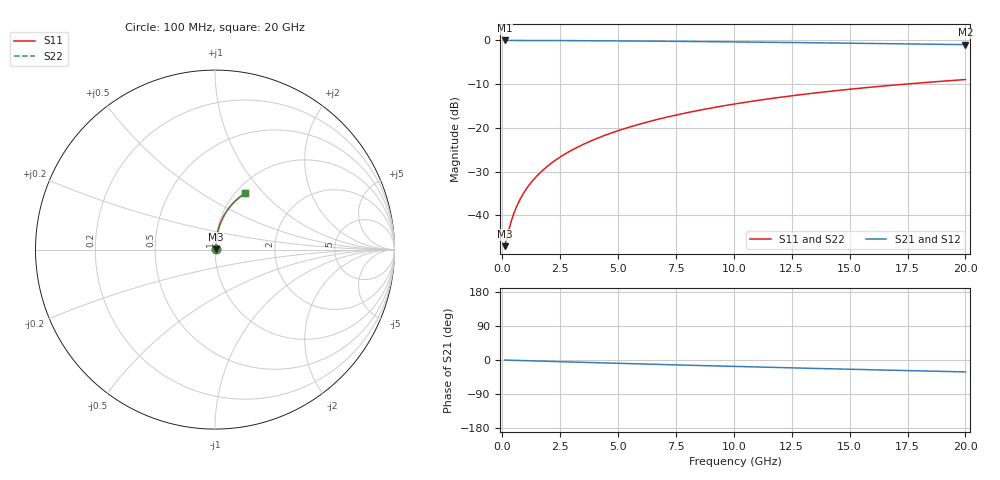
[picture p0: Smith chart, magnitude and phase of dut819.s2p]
! Touchstone file exported from HFSS 2024.1.0
!  File:  C:/UserFiles/LocalFiles/RDL_TSV_Batchsim/temp_RDL_top_819_1779854492.aedt
!  Generated:  12:03:49 PM May 27, 2026
!  Design:  RDL_top
!  Project:  temp_RDL_top_819_1779854492
!  Setup:  Setup1
!  Solution:  Sweep
! Variables:
!  dtsv = 10.80580581um
!  hbump = 3um
!  htsv = 86.24um
!  ldown = 100um
!  lrdl = 387.64um
!  p = 40
!  p1 = 46.58um
!  rhole = 1um
!  t = 450um
!  tdown = 3.915915916um
!  trdl = 2.35um
!  wdown = 15.38538539um
!  wrdl = 15.51um
# GHz S MA R 50.000000
! Terminal data exported
! Port[1] = Box2_T1
! Port[2] = Box2_T2
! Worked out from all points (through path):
!   200 points, 100 MHz to 20 GHz, reference 50 ohm
!   highest |S21| = -0.03 dB at 100 MHz (marker M1); lowest = -1.0 dB at 20 GHz (marker M2)
!   group delay of S21, straight-line fit = 4.36 ps
!   lowest |S11| = -47.0 dB at 100 MHz (marker M3), VSWR 1.01, Z = 50.4 + j0.197 ohm
!   |S11| at or under -10 dB: start of sweep to 17.43 GHz
!   |S22| runs from -47.0 to -9.0 dB; largest |S21 - S12| = 3.1e-15
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0.1  0.004448 26.0  0.996 -0.2  0.996 -0.2  0.004448 26.0
! Gamma 0 0 0 0
! Port Impedance 50 0 50 0
0.3  0.007133 54.5  0.9958 -0.6  0.9958 -0.6  0.007133 54.5
0.4  0.008797 61.2  0.9957 -0.7  0.9957 -0.7  0.008797 61.2
0.5  0.01052 65.5  0.9956 -0.9  0.9956 -0.9  0.01052 65.5
0.6  0.01228 68.6  0.9955 -1.1  0.9955 -1.1  0.01228 68.6
0.7  0.01404 70.9  0.9953 -1.3  0.9953 -1.3  0.01404 70.9
0.9  0.01759 74.0  0.9951 -1.6  0.9951 -1.6  0.01759 74.0
1.2  0.02294 76.9  0.9946 -2.2  0.9946 -2.2  0.02293 76.9
1.4  0.02651 78.2  0.9943 -2.5  0.9943 -2.5  0.02651 78.2
1.7  0.03191 79.5  0.9938 -3.0  0.9938 -3.0  0.03191 79.5
2.2  0.04096 80.8  0.9929 -3.9  0.9929 -3.9  0.04096 80.8
2.8  0.05193 81.6  0.9916 -5.0  0.9916 -5.0  0.05192 81.5
3.5  0.06482 81.8  0.9896 -6.2  0.9896 -6.2  0.06482 81.8
4.2  0.07781 81.7  0.9874 -7.4  0.9874 -7.4  0.07781 81.7
5  0.09276 81.3  0.9844 -8.8  0.9844 -8.8  0.09276 81.3
5.9  0.1097 80.6  0.9807 -10.3  0.9807 -10.3  0.1097 80.6
6.8  0.1266 79.7  0.9765 -11.8  0.9765 -11.8  0.1266 79.7
8.4  0.1568 77.9  0.9683 -14.4  0.9683 -14.4  0.1568 77.9
10.1  0.1885 75.7  0.9587 -17.1  0.9587 -17.1  0.1885 75.7
13.4  0.2483 71.1  0.938 -22.1  0.938 -22.1  0.2483 71.1
16.7  0.3044 66.4  0.9156 -26.9  0.9156 -26.9  0.3044 66.4
20  0.3561 61.8  0.8922 -31.4  0.8922 -31.4  0.356 61.8
